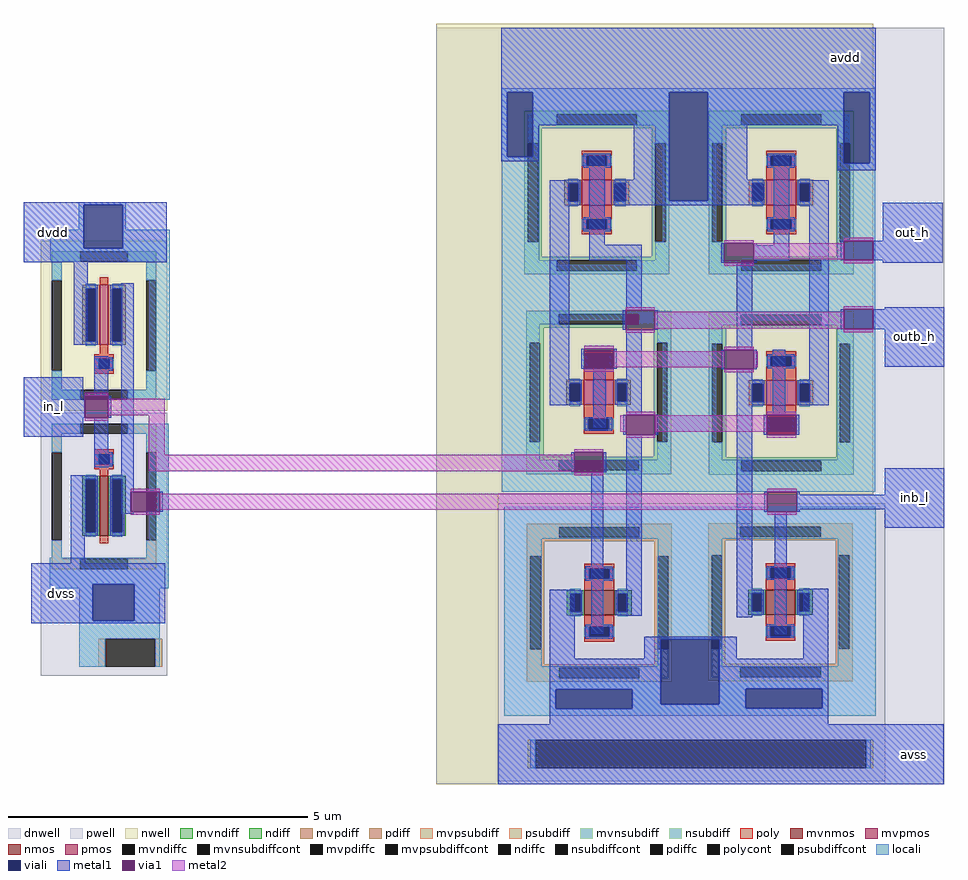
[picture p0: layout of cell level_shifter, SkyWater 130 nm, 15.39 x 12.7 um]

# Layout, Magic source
magic
tech sky130A
magscale 1 2
<< dnwell >>
rect 958 -2464 2656 64
<< nwell >>
rect 958 -148 2418 76
rect 958 -1494 1192 -148
rect 958 -2464 1164 -1494
<< pwell >>
rect -364 -2102 58 -1782
rect 1164 -2454 2458 -1526
<< psubdiff >>
rect -172 -2072 -148 -1978
rect 18 -2072 42 -1978
<< mvpsubdiff >>
rect 1264 -2412 1288 -2316
rect 2394 -2412 2418 -2316
<< psubdiffcont >>
rect -148 -2072 18 -1978
<< mvpsubdiffcont >>
rect 1288 -2412 2394 -2316
<< locali >>
rect 1176 -152 2424 -138
rect 1176 -368 1194 -152
rect 1280 -262 1736 -152
rect 1280 -368 1302 -262
rect -238 -528 -80 -520
rect -238 -612 -220 -528
rect -332 -674 -220 -612
rect -90 -612 -80 -528
rect -90 -674 66 -612
rect -332 -714 66 -674
rect -2 -1180 66 -714
rect 1176 -728 1302 -368
rect 1714 -514 1736 -262
rect 1864 -262 2320 -152
rect 1864 -514 1894 -262
rect 1714 -728 1894 -514
rect 2298 -390 2320 -262
rect 2406 -390 2424 -152
rect 2298 -728 2424 -390
rect 1176 -914 2424 -728
rect -2 -1708 64 -1260
rect 1176 -1380 1302 -914
rect 1714 -1380 1894 -914
rect 2298 -1380 2424 -914
rect 1176 -1488 2424 -1380
rect -334 -1796 64 -1708
rect -334 -1810 -190 -1796
rect -236 -1918 -190 -1810
rect -52 -1810 64 -1796
rect 1184 -1644 2426 -1538
rect -52 -1918 34 -1810
rect -236 -1978 34 -1918
rect -236 -2072 -148 -1978
rect 18 -2072 34 -1978
rect 1184 -2070 1310 -1644
rect 1698 -1980 1914 -1644
rect 1698 -2070 1708 -1980
rect 1184 -2148 1708 -2070
rect 1184 -2212 1356 -2148
rect 1612 -2198 1708 -2148
rect 1904 -2070 1914 -1980
rect 2300 -2070 2426 -1644
rect 1904 -2146 2426 -2070
rect 1904 -2198 1992 -2146
rect 1612 -2210 1992 -2198
rect 2248 -2210 2426 -2146
rect 1612 -2212 2426 -2210
rect 1184 -2236 2426 -2212
rect 1272 -2412 1288 -2316
rect 2394 -2412 2410 -2316
<< viali >>
rect 1194 -368 1280 -152
rect -220 -674 -90 -528
rect 1736 -514 1864 -152
rect 2320 -390 2406 -152
rect -190 -1918 -52 -1796
rect 1356 -2212 1612 -2148
rect 1708 -2198 1904 -1980
rect 1992 -2210 2248 -2146
<< metal1 >>
rect 1174 -152 2426 64
rect 1174 -368 1194 -152
rect 1280 -263 1736 -152
rect 1280 -368 1300 -263
rect 1174 -382 1300 -368
rect -422 -528 56 -520
rect -422 -674 -220 -528
rect -90 -674 56 -528
rect -422 -720 56 -674
rect -254 -996 -208 -720
rect -422 -1166 -222 -1104
rect -186 -1166 -138 -1034
rect -422 -1240 -218 -1166
rect -138 -1240 -128 -1166
rect -422 -1304 -222 -1240
rect -186 -1406 -138 -1240
rect -264 -1714 -218 -1432
rect -96 -1488 -54 -790
rect 1336 -1198 1402 -446
rect 1468 -662 1520 -366
rect 1618 -444 1736 -263
rect 1554 -514 1736 -444
rect 1864 -263 2320 -152
rect 1864 -444 1996 -263
rect 1864 -514 2048 -444
rect 1554 -530 2048 -514
rect 1468 -714 1644 -662
rect 1592 -880 1644 -714
rect 1910 -722 1920 -656
rect 2018 -664 2028 -656
rect 2086 -664 2138 -368
rect 2300 -390 2320 -263
rect 2406 -390 2426 -152
rect 2300 -412 2426 -390
rect 2018 -716 2138 -664
rect 2018 -722 2028 -716
rect 1580 -946 1590 -880
rect 1688 -946 1698 -880
rect 1442 -1076 1452 -1010
rect 1550 -1076 1560 -1010
rect 1482 -1274 1524 -1076
rect 1592 -1230 1644 -946
rect 1962 -1012 2014 -722
rect 1910 -1078 1920 -1012
rect 2018 -1078 2028 -1012
rect 1582 -1296 1592 -1230
rect 1690 -1296 1700 -1230
rect 1408 -1422 1418 -1356
rect 1516 -1422 1526 -1356
rect -96 -1554 -64 -1488
rect 34 -1554 44 -1488
rect -96 -1560 -54 -1554
rect -264 -1726 -216 -1714
rect -396 -1796 52 -1726
rect 1476 -1736 1516 -1422
rect 1456 -1738 1516 -1736
rect -396 -1918 -190 -1796
rect -52 -1918 52 -1796
rect -396 -1926 52 -1918
rect 1336 -2046 1420 -1814
rect 1476 -1962 1516 -1738
rect 1592 -1902 1644 -1296
rect 1962 -1906 2014 -1078
rect 2082 -1230 2124 -1012
rect 2204 -1198 2270 -446
rect 2450 -648 2650 -522
rect 2310 -714 2320 -648
rect 2418 -714 2650 -648
rect 2450 -722 2650 -714
rect 2456 -878 2656 -870
rect 2310 -944 2320 -878
rect 2418 -944 2656 -878
rect 2456 -1070 2656 -944
rect 2052 -1296 2062 -1230
rect 2160 -1296 2170 -1230
rect 2054 -1554 2064 -1488
rect 2162 -1498 2172 -1488
rect 2456 -1498 2656 -1408
rect 2162 -1546 2656 -1498
rect 2162 -1554 2172 -1546
rect 2088 -1964 2128 -1554
rect 2456 -1608 2656 -1546
rect 1652 -1980 1962 -1972
rect 1652 -2046 1708 -1980
rect 1336 -2148 1708 -2046
rect 1336 -2212 1356 -2148
rect 1612 -2198 1708 -2148
rect 1904 -2046 1962 -1980
rect 2184 -2046 2268 -1812
rect 1904 -2146 2268 -2046
rect 1904 -2198 1992 -2146
rect 1612 -2210 1992 -2198
rect 2248 -2210 2268 -2146
rect 1612 -2212 2268 -2210
rect 1336 -2264 2268 -2212
rect 1165 -2464 2653 -2264
<< via1 >>
rect -218 -1240 -138 -1166
rect 1920 -722 2018 -656
rect 1590 -946 1688 -880
rect 1452 -1076 1550 -1010
rect 1920 -1078 2018 -1012
rect 1592 -1296 1690 -1230
rect 1418 -1422 1516 -1356
rect -64 -1554 34 -1488
rect 2320 -714 2418 -648
rect 2320 -944 2418 -878
rect 2062 -1296 2160 -1230
rect 2064 -1554 2162 -1488
<< metal2 >>
rect 1920 -656 2018 -646
rect 2320 -648 2418 -638
rect 2018 -710 2320 -656
rect 1920 -732 2018 -722
rect 2320 -724 2418 -714
rect 1590 -880 1688 -870
rect 2320 -878 2418 -868
rect 1688 -942 2320 -886
rect 1590 -956 1688 -946
rect 2320 -954 2418 -944
rect 1452 -1010 1550 -1000
rect 1920 -1012 2018 -1002
rect 1550 -1072 1920 -1018
rect 1452 -1086 1550 -1076
rect 2018 -1072 2032 -1018
rect 1920 -1088 2018 -1078
rect -218 -1166 -138 -1156
rect -138 -1231 50 -1177
rect -218 -1250 -138 -1240
rect -4 -1364 50 -1231
rect 1592 -1230 1690 -1220
rect 1572 -1286 1592 -1232
rect 2062 -1230 2160 -1220
rect 1690 -1286 2062 -1232
rect 1592 -1306 1690 -1296
rect 2062 -1306 2160 -1296
rect 1418 -1356 1516 -1346
rect -4 -1418 1418 -1364
rect 1418 -1432 1516 -1422
rect -64 -1488 34 -1478
rect 2064 -1488 2162 -1478
rect 34 -1548 2064 -1494
rect -64 -1564 34 -1554
rect 2064 -1564 2162 -1554
use sky130_fd_pr__pfet_01v8_LGS3BL  XM7 paramcells
transform 1 0 -153 0 1 -932
box -211 -284 211 284
use sky130_fd_pr__nfet_01v8_64Z3AY  XM8 paramcells
transform 1 0 -153 0 1 -1503
box -211 -279 211 279
use sky130_fd_pr__pfet_g5v0d10v5_6ELFTH  XM15 paramcells
transform 1 0 1500 0 1 -1155
box -308 -339 308 339
use sky130_fd_pr__pfet_g5v0d10v5_6ELFTH  XM16
transform 1 0 1494 0 1 -487
box -308 -339 308 339
use sky130_fd_pr__nfet_g5v0d10v5_6XHUDR  XM17 paramcells
transform 1 0 1502 0 1 -1858
box -278 -300 278 300
use sky130_fd_pr__nfet_g5v0d10v5_6XHUDR  XM18
transform 1 0 2108 0 1 -1856
box -278 -300 278 300
use sky130_fd_pr__pfet_g5v0d10v5_6ELFTH  XM19
transform 1 0 2110 0 1 -487
box -308 -339 308 339
use sky130_fd_pr__pfet_g5v0d10v5_6ELFTH  XM20
transform 1 0 2110 0 1 -1157
box -308 -339 308 339
<< labels >>
flabel metal1 2450 -722 2650 -522 0 FreeSans 256 0 0 0 out_h
port 1 nsew
flabel metal1 2456 -1070 2656 -870 0 FreeSans 256 0 0 0 outb_h
port 3 nsew
flabel metal1 2456 -1608 2656 -1408 0 FreeSans 256 0 0 0 inb_l
port 7 nsew
flabel metal1 -422 -1304 -222 -1104 0 FreeSans 256 0 0 0 in_l
port 4 nsew
flabel metal1 -396 -1926 -196 -1726 0 FreeSans 256 0 0 0 dvss
port 5 nsew
flabel metal1 -422 -720 -222 -520 0 FreeSans 256 0 0 0 dvdd
port 0 nsew
flabel metal1 2453 -2464 2653 -2264 0 FreeSans 256 0 0 0 avss
port 6 nsew
flabel metal1 2226 -136 2426 64 0 FreeSans 256 0 0 0 avdd
port 2 nsew
<< end >>

# cell sky130_fd_pr__pfet_01v8_LGS3BL: kit device sky130_fd_pr__pfet_01v8, w 1.0 l 0.15 m 1 nf 1 diffcov 100 polycov 100 guard 1 glc 1 grc 1 gtc 1 gbc 1 tbcov 100 rlcov 100 topc 0 botc 1 poverlap 0 doverlap 1 lmin 0.15 wmin 0.42 compatible {sky130_fd_pr__pfet_01v8 sky130_fd_pr__pfet_01v8_lvt sky130_fd_pr__pfet_01v8_hvt sky130_fd_pr__pfet_g5v0d10v5} full_metal 1 viasrc 100 viadrn 100 viagate 100 viagb 0 viagr 0 viagl 0 viagt 0

# cell sky130_fd_pr__nfet_01v8_64Z3AY: kit device sky130_fd_pr__nfet_01v8, w 1.0 l 0.15 m 1 nf 1 diffcov 100 polycov 100 guard 1 glc 1 grc 1 gtc 1 gbc 1 tbcov 100 rlcov 100 topc 1 botc 0 poverlap 0 doverlap 1 lmin 0.15 wmin 0.42 compatible {sky130_fd_pr__nfet_01v8 sky130_fd_pr__nfet_01v8_lvt sky130_fd_bs_flash__special_sonosfet_star sky130_fd_pr__nfet_g5v0d10v5 sky130_fd_pr__nfet_05v0_nvt sky130_fd_pr__nfet_03v3_nvt} full_metal 1 viasrc 100 viadrn 100 viagate 100 viagb 0 viagr 0 viagl 0 viagt 0

# cell sky130_fd_pr__pfet_g5v0d10v5_6ELFTH: kit device sky130_fd_pr__pfet_g5v0d10v5, w 0.42 l 0.5 m 1 nf 1 diffcov 100 polycov 100 guard 1 glc 1 grc 1 gtc 1 gbc 1 tbcov 100 rlcov 100 topc 1 botc 1 poverlap 0 doverlap 1 lmin 0.50 wmin 0.42 compatible {sky130_fd_pr__pfet_01v8 sky130_fd_pr__pfet_01v8_lvt sky130_fd_pr__pfet_01v8_hvt sky130_fd_pr__pfet_g5v0d10v5} full_metal 1 viasrc 100 viadrn 100 viagate 100 viagb 0 viagr 0 viagl 0 viagt 0

# cell sky130_fd_pr__nfet_g5v0d10v5_6XHUDR: kit device sky130_fd_pr__nfet_g5v0d10v5, w 0.42 l 0.5 m 1 nf 1 diffcov 100 polycov 100 guard 1 glc 1 grc 1 gtc 1 gbc 1 tbcov 100 rlcov 100 topc 1 botc 1 poverlap 0 doverlap 1 lmin 0.50 wmin 0.42 compatible {sky130_fd_pr__nfet_01v8 sky130_fd_pr__nfet_01v8_lvt sky130_fd_bs_flash__special_sonosfet_star sky130_fd_pr__nfet_g5v0d10v5 sky130_fd_pr__nfet_05v0_nvt sky130_fd_pr__nfet_03v3_nvt} full_metal 1 viasrc 100 viadrn 100 viagate 100 viagb 0 viagr 0 viagl 0 viagt 0
